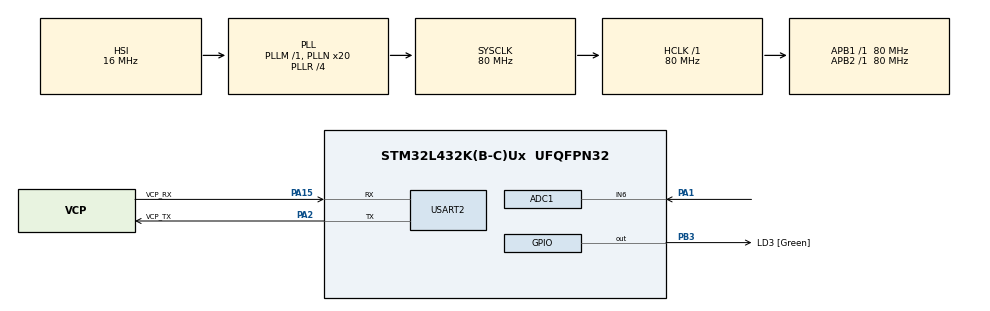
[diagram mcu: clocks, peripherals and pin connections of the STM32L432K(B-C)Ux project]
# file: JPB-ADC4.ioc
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ADC1.Channel-1\#ChannelRegularConversion=ADC_CHANNEL_6
ADC1.ContinuousConvMode=ENABLE
ADC1.DMAContinuousRequests=ENABLE
ADC1.NbrOfConversionFlag=1
ADC1.OffsetNumber-1\#ChannelRegularConversion=ADC_OFFSET_NONE
ADC1.OversamplingMode=ENABLE
ADC1.Rank-1\#ChannelRegularConversion=1
ADC1.Ratio=ADC_OVERSAMPLING_RATIO_2
ADC1.RightBitShift=ADC_RIGHTBITSHIFT_NONE
ADC1.SamplingTime-1\#ChannelRegularConversion=ADC_SAMPLETIME_2CYCLES_5
ADC1.master=1
Dma.ADC1.0.Direction=DMA_PERIPH_TO_MEMORY
Dma.ADC1.0.Instance=DMA1_Channel1
Dma.ADC1.0.MemDataAlignment=DMA_MDATAALIGN_HALFWORD
Dma.ADC1.0.MemInc=DMA_MINC_ENABLE
Dma.ADC1.0.Mode=DMA_CIRCULAR
Dma.ADC1.0.PeriphDataAlignment=DMA_PDATAALIGN_HALFWORD
Dma.ADC1.0.PeriphInc=DMA_PINC_DISABLE
Dma.ADC1.0.Priority=DMA_PRIORITY_VERY_HIGH
Dma.Request0=ADC1
Mcu.Family=STM32L4
Mcu.Name=STM32L432K(B-C)Ux
Mcu.Package=UFQFPN32
NVIC.DMA1_Channel1_IRQn=true\:0\:0\:false\:false\:true\:false\:true\:true
NVIC.PriorityGroup=NVIC_PRIORITYGROUP_4
PA0.GPIO_Label=MCO [High speed clock in]
PA0.Mode=HSE-External-Clock-Source-for-LittleOrca
PA0.Signal=RCC_CK_IN
PA1.Signal=ADCx_IN6
PA13\ (JTMS-SWDIO).GPIO_Label=SWDIO
PA13\ (JTMS-SWDIO).Mode=Serial_Wire
PA13\ (JTMS-SWDIO).Signal=SYS_JTMS-SWDIO
PA14\ (JTCK-SWCLK).GPIO_Label=SWCLK
PA14\ (JTCK-SWCLK).Mode=Serial_Wire
PA14\ (JTCK-SWCLK).Signal=SYS_JTCK-SWCLK
PA15\ (JTDI).GPIO_Label=VCP_RX
PA15\ (JTDI).Mode=Asynchronous
PA15\ (JTDI).Signal=USART2_RX
PA2.GPIO_Label=VCP_TX
PA2.Mode=Asynchronous
PA2.Signal=USART2_TX
PB3\ (JTDO-TRACESWO).GPIO_Label=LD3 [Green]
PB3\ (JTDO-TRACESWO).Signal=GPIO_Output
PC14-OSC32_IN\ (PC14).Mode=LSE-External-Oscillator
PC14-OSC32_IN\ (PC14).Signal=RCC_OSC32_IN
PC15-OSC32_OUT\ (PC15).Mode=LSE-External-Oscillator
PC15-OSC32_OUT\ (PC15).Signal=RCC_OSC32_OUT
ProjectManager.HeapSize=0x200
ProjectManager.StackSize=0x400
ProjectManager.TargetToolchain=STM32CubeIDE
RCC.ADCCLockSelection=RCC_ADCCLKSOURCE_SYSCLK
RCC.ADCFreq_Value=80000000
RCC.AHBFreq_Value=80000000
RCC.APB1Freq_Value=80000000
RCC.APB1TimFreq_Value=80000000
RCC.APB2Freq_Value=80000000
RCC.APB2TimFreq_Value=80000000
RCC.CortexFreq_Value=80000000
RCC.HCLKFreq_Value=80000000
RCC.HSE_VALUE=8000000
RCC.HSI16_VALUE=16000000
RCC.HSI48_VALUE=48000000
RCC.HSI_VALUE=16000000
RCC.MSI_VALUE=4000000
RCC.PLLMUL=RCC_PLLMUL_4
RCC.PLLN=20
RCC.PLLR=RCC_PLLR_DIV4
RCC.PLLSAI1N=16
RCC.PLLSAI1R=RCC_PLLR_DIV8
RCC.PLLSourceVirtual=RCC_PLLSOURCE_HSI
RCC.SYSCLKFreq_VALUE=80000000
RCC.SYSCLKSource=RCC_SYSCLKSOURCE_PLLCLK
RCC.USBFreq_Value=128000000
RCC.VCOOutputFreq_Value=320000000
SH.ADCx_IN6.0=ADC1_IN6,IN6-Single-Ended
USART2.VirtualMode-Asynchronous=VM_ASYNC
board=NUCLEO-L432KC

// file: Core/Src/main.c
/* USER CODE BEGIN Header */
/**
  ******************************************************************************
  * @file           : main.c
  * @brief          : ADC DMA readings on Nucleo STM32 L432KC, count signal peaks

  * 4x ovrsamp ADC @ 6.5 clocks of 32 MHz => 1.2308 MHz eff.rate, 307.7 Hz @ 4k buff
  * 166.92 Hz pulse rate x 8000 samples => 1.335Msps on DMA channel  (12/9/2023 jpb)
  *
  * DMA half,full @ 8k buff: 3ms high, 3ms low f=166.8 Hz  TDS-210 scope
  * each 8k buffer proc in 6 msec, make sure to use -Ofast flag to C++ compiler.
  * 80 MHz ADC clock
  *
  * 3.0 ms for 8k buff @ 2x oversampling (2.667 Msps effective rate)  10-Dec-2023
  *
  * https://www.st.com/resource/en/datasheet/stm32l432kc.pdf
  * STM32L432KC datasheet p.117/156: not all ADC inputs have the same speed!
      3. Fast channels are: PC0, PC1, PC2, PC3, PA0, PA1.
      4. Slow channels are: all ADC inputs except the fast channels.
  ******************************************************************************
  */
/* USER CODE END Header */
#include "main.h"

/* USER CODE BEGIN Includes */
#include <math.h>  // sqrt()
#include <stdio.h> // printf()
/* USER CODE END Includes */

/* USER CODE BEGIN PD */
#define CPU_RATE (80000000)   // CPU counter ticks per second
#define true 1
#define false 0
/* USER CODE END PD */

ADC_HandleTypeDef hadc1;
DMA_HandleTypeDef hdma_adc1;

UART_HandleTypeDef huart2;

/* USER CODE BEGIN PV */
#define ADC_BUFFER_SIZE 8000 // was 20k
#define SPEC_SIZE 512
#define PROC_BUF_SIZE (ADC_BUFFER_SIZE/2)
uint16_t adc_buffer[ADC_BUFFER_SIZE];  // DMA writes ADC data into this buffer

uint32_t specOut[SPEC_SIZE];
uint32_t pBuf[PROC_BUF_SIZE];
unsigned int pBp1 = 0;
unsigned int pBp2 = 2;

// uint16_t tBuf[ADC_BUFFER_SIZE/2];       // working buffer for operation & printout

uint32_t counter = 0;
uint32_t tick=0;      // geiger counter "count"
uint32_t lastTick=0;
uint32_t totalTicks = 0;  // total number of ticks recorded over entire runtime

uint32_t sMax = 0;
uint32_t sMin = 65535;

uint32_t sMaxTP = 0;

float avgVal = 260;  // 511 as of 6-Dec-2023 (4x ovrsamp)  260 10-Dec-23 (2x ovrsmp)
float avgValFilt = 0.001;

/* USER CODE END PV */

void SystemClock_Config(void);
static void MX_GPIO_Init(void);
static void MX_DMA_Init(void);
static void MX_USART2_UART_Init(void);
static void MX_ADC1_Init(void);
/* USER CODE BEGIN PFP */

#ifdef __GNUC__
#define PUTCHAR_PROTOTYPE int __io_putchar(int ch)
#else
#define PUTCHAR_PROTOTYPE int fputc(int ch, FILE *f)
#endif

PUTCHAR_PROTOTYPE
{
  HAL_UART_Transmit(&huart2, (uint8_t *)&ch, 1, HAL_MAX_DELAY);
  return ch;
}

/* USER CODE END PFP */

/* USER CODE BEGIN 0 */
int readingCount = 0;            // how many sets of ADC readings done
volatile int buf1Ready = false;  // Ping buffer is ready
volatile int buf2Ready = false;  // Pong buffer is ready

int pThreshold = 100;            // ADC amplitude threshold for finding rising edge

// Read a set of values from STM32 Nucleo L432KC board 12-bit ADC and get statistics
// Typical St.Dev. = 3.1 counts. Single-ended input from 1.5V AA (4095 counts = 3.3V)
// 14800 readings per second (SAMPLES=4k, no ADC oversampling)
// count   sps1      sps2      avg       min       max       st.dev
// 16.000  13675.214 13673.658 28240.963 28186.000 28297.000 15.218  (16x oversample)
// 10852.0 13675.2   13673.5   28252.0   28194.0   28317.0   14.5

// Process a Ping or Pong buffer looking for peaks
void procBuf(int bIndex) {
    int idxStart, idxEnd;

    if (bIndex==1) {
    	idxStart=0;
    	idxEnd = ADC_BUFFER_SIZE/2;
    } else {
    	idxStart=ADC_BUFFER_SIZE/2;
    	idxEnd = ADC_BUFFER_SIZE;
    }

    // int pThreshold = (132-avgMin);         // ADC thresh for rising edge (no oversamp)
    // int pThreshold = (510-avgMin);            // ADC thresh for rising edge (8x oversamp, <1 bitshft)
	sMax = 0;
	sMin = 65535;
	uint32_t x = 0;
	uint32_t tickOrig = tick;  // remember old value of tick counter
	uint32_t xTh = avgVal + 15;  // was 37 threshold for valid count

	HAL_GPIO_WritePin(GPIOB, GPIO_PIN_3, GPIO_PIN_SET); // GPIO signal flag
	int j=0;
    for (int i = idxStart; i < idxEnd; i++) {  // copy over DMA mem into working buffer
      x = adc_buffer[i];
      pBuf[j++]=x;
      if (x > sMax) sMax = x;
    }

    for (int i=2; i<(PROC_BUF_SIZE-8); i++)
    {
      if ((pBuf[i] > xTh) && (pBuf[i-1] < xTh) && (pBuf[i-2] < xTh)) {
		  tick++;
		  int e=0;
		  for (int j=0;j<8;j++) {
		    //e += pBuf[i+j]; // add all these samples together
			uint32_t val = pBuf[i+j];
			if (val > e) { // find peak value
				e = val;
			}
		  }
		  // e = e>>5;
		  e = e>>3;
		  if (e >= SPEC_SIZE) {
			  e = (SPEC_SIZE-1);
		  }
		  specOut[e]++;
		  i+=8;
      }

      j++;  // index into pBuf[]
    }
	HAL_GPIO_WritePin(GPIOB, GPIO_PIN_3, GPIO_PIN_RESET); // GPIO signal flag

    if (tickOrig == tick) { // no new pulses found in this entire buffer section
    	avgVal = (avgVal * (1.0-avgValFilt)) + (sMax) * avgValFilt;
    //} else if ((tick - tickOrig) > 15) {
    }
    /*
     else if ((sMax > 300) && (sMax < 600))
      {
        for (int i=0; i<PROC_BUF_SIZE; i++) {
        	printf("%d,%ld\n", i, pBuf[i]);
        }

     */
	counter++;

	//sMaxTP = (sMax - 440);
	//if (sMaxTP < 0) sMaxTP = 0;
	//if (sMaxTP > 12) cps++;        // above threshold counts as a hit
	//printf("%04d,%d\n",sMaxTP,tick);
	//printf("%04ld,%04ld,%ld\n",sMax,(uint32_t)avgVal,tick);  // about 248 sps
}

/* USER CODE END 0 */

int main(void)
{
  /* USER CODE BEGIN 1 */
	// enable core cycle counter per https://stackoverflow.com/questions/42747128/
	CoreDebug->DEMCR |= CoreDebug_DEMCR_TRCENA_Msk;
	DWT->CYCCNT = 0;
	DWT->CTRL |= DWT_CTRL_CYCCNTENA_Msk;
  /* USER CODE END 1 */

  /* MCU Configuration--------------------------------------------------------*/

  /* Reset of all peripherals, Initializes the Flash interface and the Systick. */
  HAL_Init();

  /* Configure the system clock */
  SystemClock_Config();

  /* Initialize all configured peripherals */
  MX_GPIO_Init();
  MX_DMA_Init();
  MX_USART2_UART_Init();
  MX_ADC1_Init();

  /* Infinite loop */
  /* USER CODE BEGIN WHILE */

  for (int i=0;i<SPEC_SIZE;i++) {
	  specOut[i] = 0; // initialize spectrum array
  }

  uint32_t msecPeriod = 60000;   // report time period in msec
  //uint32_t msecPeriod = 10000;   // report time period in msec

  HAL_ADC_Start_DMA(&hadc1, (uint32_t*)adc_buffer, ADC_BUFFER_SIZE);
  uint32_t tLast = HAL_GetTick();
  unsigned int cycle=0;  // how many output cycles so far
  while (1)
  {
    /* USER CODE END WHILE */

    /* USER CODE BEGIN 3 */

    //sMaxT = 0;  // peak ADC value ever seen
	//sMinT = 65535;  // min ADC value ever seen

	while (!buf1Ready);
	buf1Ready = false;
	procBuf(1); // process first half ("ping") of buffer
	//HAL_GPIO_WritePin(GPIOB, GPIO_PIN_3, GPIO_PIN_SET);

	while (!buf2Ready);
	buf2Ready = false;
	procBuf(2); // process second half ("pong") of buffer
	//HAL_GPIO_WritePin(GPIOB, GPIO_PIN_3, GPIO_PIN_RESET);

	uint32_t deltaT = HAL_GetTick() - tLast;  // msec since last readout
	// const int16_t loopSec = 224;                  // half-buffer-loops per second
	//if (counter > (loopSec * 60 )) {               // report CPM each minute
	//if (counter > (loopSec )) {               // report CPS each second
	if (deltaT >= msecPeriod) {
		//printf("%d,%d\n", counter,tick);
		cycle++;
		totalTicks += tick;
		uint32_t tpc = totalTicks / cycle; // ticks per cycle
		uint32_t p34 = specOut[34];  // peak from noise near threshold?
		int p=46;
		uint32_t p47 = specOut[p] + specOut[p+1] + specOut[p+2] + specOut[p+3];  // "real" peak at channel 47
		printf("0,0,%d,%ld,%ld,%ld,%ld,%ld\n", cycle,tick,p34,p47,totalTicks,tpc);
		counter = 0;
		tLast += msecPeriod;   // aim for one readout every second
		lastTick = tick;
		tick=0;
		if (cycle%10 == 0) {
			printf("# == energy spectrum == cycle:%d  counts:%ld\n", cycle,totalTicks);
			for (int i=0;i<SPEC_SIZE/2;i++) {
			  printf("%d,%ld\n", i,specOut[i]);
			}
			printf("# ---\n# cycle,tick,p34,p47,totalTicks,tpc\n"); // column header
		}

	}

  }
  /* USER CODE END 3 */
}

void SystemClock_Config(void)
{
  RCC_OscInitTypeDef RCC_OscInitStruct = {0};
  RCC_ClkInitTypeDef RCC_ClkInitStruct = {0};

  /** Configure the main internal regulator output voltage
  */
  if (HAL_PWREx_ControlVoltageScaling(PWR_REGULATOR_VOLTAGE_SCALE1) != HAL_OK)
  {
    Error_Handler();
  }

  /** Initializes the RCC Oscillators according to the specified parameters
  * in the RCC_OscInitTypeDef structure.
  */
  RCC_OscInitStruct.OscillatorType = RCC_OSCILLATORTYPE_HSI;
  RCC_OscInitStruct.HSIState = RCC_HSI_ON;
  RCC_OscInitStruct.HSICalibrationValue = RCC_HSICALIBRATION_DEFAULT;
  RCC_OscInitStruct.PLL.PLLState = RCC_PLL_ON;
  RCC_OscInitStruct.PLL.PLLSource = RCC_PLLSOURCE_HSI;
  RCC_OscInitStruct.PLL.PLLM = 1;
  RCC_OscInitStruct.PLL.PLLN = 20;
  RCC_OscInitStruct.PLL.PLLP = RCC_PLLP_DIV7;
  RCC_OscInitStruct.PLL.PLLQ = RCC_PLLQ_DIV2;
  RCC_OscInitStruct.PLL.PLLR = RCC_PLLR_DIV4;
  if (HAL_RCC_OscConfig(&RCC_OscInitStruct) != HAL_OK)
  {
    Error_Handler();
  }

  /** Initializes the CPU, AHB and APB buses clocks
  */
  RCC_ClkInitStruct.ClockType = RCC_CLOCKTYPE_HCLK|RCC_CLOCKTYPE_SYSCLK
                              |RCC_CLOCKTYPE_PCLK1|RCC_CLOCKTYPE_PCLK2;
  RCC_ClkInitStruct.SYSCLKSource = RCC_SYSCLKSOURCE_PLLCLK;
  RCC_ClkInitStruct.AHBCLKDivider = RCC_SYSCLK_DIV1;
  RCC_ClkInitStruct.APB1CLKDivider = RCC_HCLK_DIV1;
  RCC_ClkInitStruct.APB2CLKDivider = RCC_HCLK_DIV1;

  if (HAL_RCC_ClockConfig(&RCC_ClkInitStruct, FLASH_LATENCY_4) != HAL_OK)
  {
    Error_Handler();
  }
}

static void MX_ADC1_Init(void)
{

  ADC_ChannelConfTypeDef sConfig = {0};

  /** Common config
  */
  hadc1.Instance = ADC1;
  hadc1.Init.ClockPrescaler = ADC_CLOCK_ASYNC_DIV1;
  hadc1.Init.Resolution = ADC_RESOLUTION_12B;
  hadc1.Init.DataAlign = ADC_DATAALIGN_RIGHT;
  hadc1.Init.ScanConvMode = ADC_SCAN_DISABLE;
  hadc1.Init.EOCSelection = ADC_EOC_SINGLE_CONV;
  hadc1.Init.LowPowerAutoWait = DISABLE;
  hadc1.Init.ContinuousConvMode = ENABLE;
  hadc1.Init.NbrOfConversion = 1;
  hadc1.Init.DiscontinuousConvMode = DISABLE;
  hadc1.Init.ExternalTrigConv = ADC_SOFTWARE_START;
  hadc1.Init.ExternalTrigConvEdge = ADC_EXTERNALTRIGCONVEDGE_NONE;
  hadc1.Init.DMAContinuousRequests = ENABLE;
  hadc1.Init.Overrun = ADC_OVR_DATA_PRESERVED;
  hadc1.Init.OversamplingMode = ENABLE;
  hadc1.Init.Oversampling.Ratio = ADC_OVERSAMPLING_RATIO_2;
  hadc1.Init.Oversampling.RightBitShift = ADC_RIGHTBITSHIFT_NONE;
  hadc1.Init.Oversampling.TriggeredMode = ADC_TRIGGEREDMODE_SINGLE_TRIGGER;
  hadc1.Init.Oversampling.OversamplingStopReset = ADC_REGOVERSAMPLING_CONTINUED_MODE;
  if (HAL_ADC_Init(&hadc1) != HAL_OK)
  {
    Error_Handler();
  }

  /** Configure Regular Channel
  */
  sConfig.Channel = ADC_CHANNEL_6;
  sConfig.Rank = ADC_REGULAR_RANK_1;
  sConfig.SamplingTime = ADC_SAMPLETIME_2CYCLES_5;
  sConfig.SingleDiff = ADC_SINGLE_ENDED;
  sConfig.OffsetNumber = ADC_OFFSET_NONE;
  sConfig.Offset = 0;
  if (HAL_ADC_ConfigChannel(&hadc1, &sConfig) != HAL_OK)
  {
    Error_Handler();
  }

}

static void MX_USART2_UART_Init(void)
{

  huart2.Instance = USART2;
  huart2.Init.BaudRate = 115200;
  huart2.Init.WordLength = UART_WORDLENGTH_8B;
  huart2.Init.StopBits = UART_STOPBITS_1;
  huart2.Init.Parity = UART_PARITY_NONE;
  huart2.Init.Mode = UART_MODE_TX_RX;
  huart2.Init.HwFlowCtl = UART_HWCONTROL_NONE;
  huart2.Init.OverSampling = UART_OVERSAMPLING_16;
  huart2.Init.OneBitSampling = UART_ONE_BIT_SAMPLE_DISABLE;
  huart2.AdvancedInit.AdvFeatureInit = UART_ADVFEATURE_NO_INIT;
  if (HAL_UART_Init(&huart2) != HAL_OK)
  {
    Error_Handler();
  }

}

static void MX_DMA_Init(void)
{

  /* DMA controller clock enable */
  __HAL_RCC_DMA1_CLK_ENABLE();

  /* DMA interrupt init */
  /* DMA1_Channel1_IRQn interrupt configuration */
  HAL_NVIC_SetPriority(DMA1_Channel1_IRQn, 0, 0);
  HAL_NVIC_EnableIRQ(DMA1_Channel1_IRQn);

}

static void MX_GPIO_Init(void)
{
  GPIO_InitTypeDef GPIO_InitStruct = {0};

  /* GPIO Ports Clock Enable */
  __HAL_RCC_GPIOC_CLK_ENABLE();
  __HAL_RCC_GPIOA_CLK_ENABLE();
  __HAL_RCC_GPIOB_CLK_ENABLE();

  /*Configure GPIO pin Output Level */
  HAL_GPIO_WritePin(LD3_GPIO_Port, LD3_Pin, GPIO_PIN_RESET);

  /*Configure GPIO pin : LD3_Pin */
  GPIO_InitStruct.Pin = LD3_Pin;
  GPIO_InitStruct.Mode = GPIO_MODE_OUTPUT_PP;
  GPIO_InitStruct.Pull = GPIO_NOPULL;
  GPIO_InitStruct.Speed = GPIO_SPEED_FREQ_LOW;
  HAL_GPIO_Init(LD3_GPIO_Port, &GPIO_InitStruct);

}

/* USER CODE BEGIN 4 */

// Called when first half of buffer is filled
void HAL_ADC_ConvHalfCpltCallback(ADC_HandleTypeDef* hadc) {
  buf1Ready = true;  // Ping buffer is ready
  //HAL_GPIO_WritePin(GPIOB, GPIO_PIN_3, GPIO_PIN_SET);
}

// Called when buffer is completely filled
void HAL_ADC_ConvCpltCallback(ADC_HandleTypeDef* hadc) {
  buf2Ready = true;  // Pong buffer is ready
  //HAL_GPIO_WritePin(GPIOB, GPIO_PIN_3, GPIO_PIN_RESET);

}

// ================================================================

/* USER CODE END 4 */

void Error_Handler(void)
{
  __disable_irq();
  while (1)
  {
  }
}
